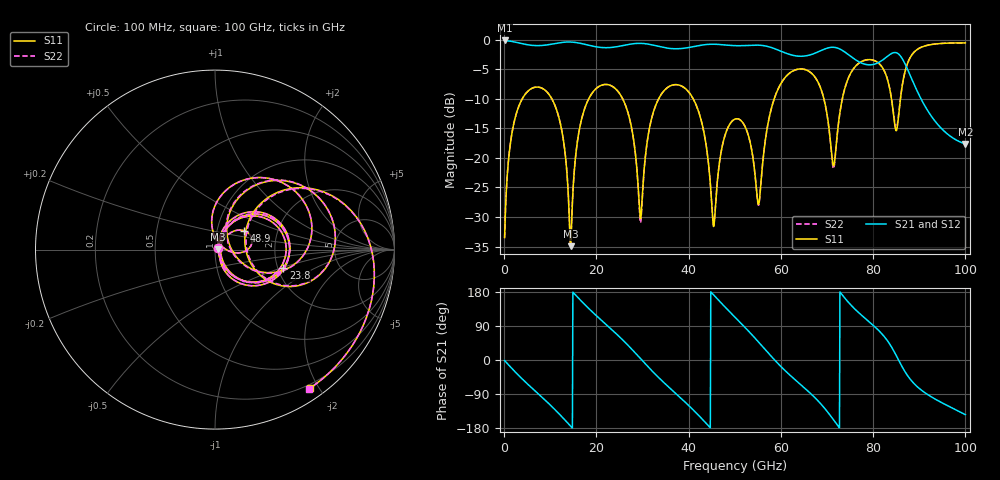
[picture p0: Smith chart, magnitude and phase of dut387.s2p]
! Touchstone file exported from HFSS 2026.1.0
!  File:  C:/ffzhzh/LocalFiles/Ansys_Project_Files/temp_train_TSV_RDL_387_1783717276_44652.aedt
!  Generated:  05:09:12 AM Jul 11, 2026
!  Design:  TSV_RDL
!  Project:  temp_train_TSV_RDL_387_1783717276_44652
! Variables:
!  h_bsmrdl = 2.63um
!  h_ox = 20um
!  h_rdl = 5um
!  h_sub = 72.75um
!  h_tmrdl = 4.78um
!  h_tsv = 72.75um
!  h_via = 3um
!  l_bsmrdl = 299.93um
!  l_sub = 3952.39um
!  l_tmrdl = 634.71um
!  m_sub = 200um
!  pitch = 43.97um
!  r_tsv = 13.79um
!  s_tmrdl = 10um
!  w_bsmrdl = 13.06um
!  w_sub = 500um
!  w_tmrdl = 24.86um
!  x_tsv_center1 = 647.14um
!  x_tsv_center2 = 960.13um
!  x_tsv_center3 = 1619.7um
!  x_tsv_center4 = 1932.69um
!  x_tsv_center5 = 2592.26um
!  x_tsv_center6 = 2905.25um
# GHz S MA R 50.000000
! Terminal data exported
! Port[1] = TM_RDL1_1_T1
! Port[2] = TM_RDL5_1_T1
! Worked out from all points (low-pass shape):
!   1000 points, 100 MHz to 100 GHz, reference 50 ohm
!   highest |S21| = -0.16 dB at 100 MHz (marker M1); lowest = -17.7 dB at 100 GHz (marker M2)
!   |S21| within 3 dB of the highest: start of sweep to 75.68 GHz; 82.58 GHz to 86.25 GHz (3.671 GHz wide, 4.35 % of centre)
!   lowest |S11| = -34.9 dB at 14.4 GHz (marker M3), VSWR 1.04, Z = 51.8 + j0.167 ohm
!   |S11| at or under -10 dB: 10.32 GHz to 18.35 GHz (8.029 GHz wide, 56 % of centre); 25.68 GHz to 33.51 GHz (7.83 GHz wide, 26.5 % of centre); 40.97 GHz to 58.56 GHz (17.6 GHz wide, 35.4 % of centre) (the widest 3 of 6)
!   |S22| runs from -34.6 to -0.6 dB; largest |S21 - S12| = 1.7e-14
!   S11 on the Smith chart (normalised r, x): 100 MHz: 1.04, +0.02; 23.8 GHz: 2.14, -0.52; 48.9 GHz: 1.34, +0.30; 100 GHz: 0.15, -1.88
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0.1  0.02115 30.5  0.982 -1.4  0.982 -1.4  0.02115 30.5
! Gamma 0 0 0 0
! Port Impedance 50 0 50 0
2.3  0.211 53.0  0.9524 -30.2  0.9524 -30.2  0.211 53.0
7.1  0.3965 1.1  0.8884 -86.0  0.8884 -86.0  0.3965 1.1
11.9  0.2168 -50.5  0.937 -141.9  0.937 -141.9  0.2169 -50.4
14.4  0.01791 5.2  0.9524 -174.3  0.9524 -174.3  0.01873 4.9
16.8  0.2128 58.5  0.9241 154.6  0.9241 154.6  0.2128 58.2
23.8  0.3937 -15.0  0.862 75.0  0.862 75.0  0.3936 -15.4
29.6  0.03053 7.2  0.9281 3.2  0.9281 3.2  0.02811 7.6
33.4  0.3104 39.4  0.876 -45.2  0.876 -45.2  0.3101 39.7
41.2  0.3038 -41.5  0.8732 -134.2  0.8732 -134.2  0.3038 -41.4
45.4  0.02625 -10.0  0.9125 171.9  0.9125 171.9  0.0269 -9.9
48.9  0.1919 33.5  0.8927 127.2  0.8927 127.2  0.192 33.3
50.1  0.2128 21.4  0.8874 112.3  0.8874 112.3  0.2129 21.2
55.1  0.04036 38.3  0.8962 48.1  0.8962 48.1  0.03974 37.8
57.7  0.2403 90.4  0.8614 12.5  0.8614 12.5  0.24 90.4
66.7  0.5163 1.1  0.7487 -91.3  0.7487 -91.3  0.5159 0.8
71.3  0.08722 9.6  0.8602 -156.0  0.8602 -156.0  0.08298 9.0
72.7  0.2279 68.3  0.834 -178.8  0.834 -178.8  0.2264 69.3
78.9  0.6759 12.3  0.6117 103.3  0.6117 103.3  0.676 12.6
83.4  0.4156 -28.8  0.7362 45.6  0.7362 45.6  0.4173 -28.1
87.7  0.6631 30.0  0.5332 -45.2  0.5332 -45.2  0.6642 29.5
100  0.9358 -55.7  0.1309 -144.3  0.1309 -144.3  0.9358 -55.9
